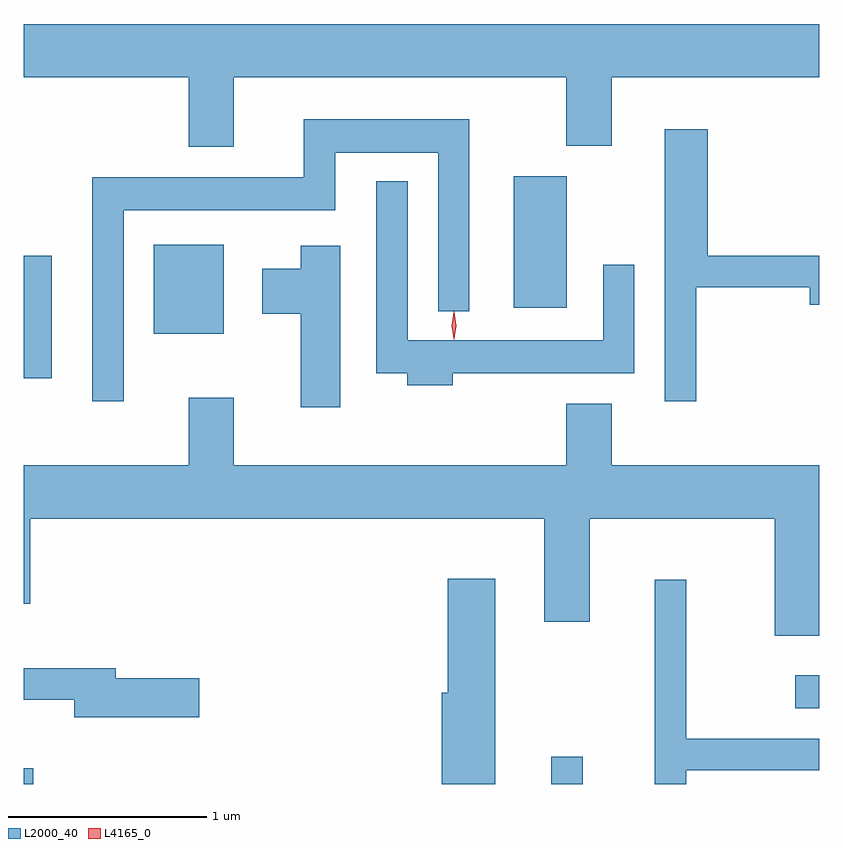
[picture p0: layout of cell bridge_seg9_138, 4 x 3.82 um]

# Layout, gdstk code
import gdstk
lib = gdstk.Library(unit=1e-6, precision=1e-09)
def R(c, l, rs):  # rectangles x0, y0, x1, y1
    for r in rs: c.add(gdstk.rectangle(r[:2], r[2:], *l))
def P(c, l, *ps):  # polygons
    for p in ps: c.add(gdstk.Polygon(p, *l))
L2000_40 = (2000, 40)
L4165_0 = (4165, 0)

bridge_seg9_138 = lib.new_cell('bridge_seg9_138')
R(bridge_seg9_138, L2000_40, [(1409.743,2070.401,1409.789,2070.479), (1412.396,2070.401,1412.554,2070.538), (1413.623,2070.781,1413.743,2070.949), (1409.743,2072.441,1409.884,2073.059), (1410.396,2072.666,1410.749,2073.114), (1412.206,2072.796,1412.474,2073.459)])
P(bridge_seg9_138, L2000_40, [(1410.799,2073.956),(1412.471,2073.956),(1412.471,2073.611),(1412.699,2073.611),(1412.699,2073.956),(1413.743,2073.956),(1413.743,2074.224),(1409.743,2074.224),(1409.743,2073.956),(1410.571,2073.956),(1410.571,2073.606),(1410.799,2073.606)],
  [(1410.244,2073.286),(1411.309,2073.286),(1411.309,2073.576),(1411.826,2073.576),(1411.826,2072.778),(1411.984,2072.778),(1411.984,2073.744),(1411.151,2073.744),(1411.151,2073.454),(1410.086,2073.454),(1410.086,2072.327),(1410.244,2072.327)],
  [(1413.124,2072.901),(1413.696,2072.901),(1413.696,2072.811),(1413.743,2072.811),(1413.743,2073.059),(1413.184,2073.059),(1413.184,2073.694),(1412.966,2073.694),(1412.966,2072.327),(1413.124,2072.327)],
  [(1411.899,2072.466),(1412.814,2072.466),(1412.814,2073.012),(1412.656,2073.012),(1412.656,2072.634),(1411.674,2072.634),(1411.674,2073.433),(1411.516,2073.433),(1411.516,2072.466),(1411.671,2072.466),(1411.671,2072.406),(1411.899,2072.406)],
  [(1411.334,2073.109),(1411.136,2073.109),(1411.136,2072.994),(1410.941,2072.994),(1410.941,2072.766),(1411.136,2072.766),(1411.136,2072.296),(1411.334,2072.296)],
  [(1413.743,2072.004),(1412.699,2072.004),(1412.699,2072.314),(1412.471,2072.314),(1412.471,2072.004),(1410.799,2072.004),(1410.799,2072.344),(1410.571,2072.344),(1410.571,2072.004),(1409.743,2072.004),(1409.743,2071.308),(1409.774,2071.308),(1409.774,2071.736),(1412.361,2071.736),(1412.361,2071.216),(1412.589,2071.216),(1412.589,2071.736),(1413.521,2071.736),(1413.521,2071.146),(1413.743,2071.146)],
  [(1412.114,2071.434),(1411.876,2071.434),(1411.876,2070.859),(1411.846,2070.859),(1411.846,2070.401),(1412.114,2070.401)],
  [(1413.074,2070.471),(1413.743,2070.471),(1413.743,2070.629),(1413.074,2070.629),(1413.074,2071.428),(1412.916,2071.428),(1412.916,2070.401),(1413.074,2070.401)],
  [(1410.624,2070.934),(1410.204,2070.934),(1410.204,2070.984),(1409.743,2070.984),(1409.743,2070.826),(1409.996,2070.826),(1409.996,2070.736),(1410.624,2070.736)])
P(bridge_seg9_138, L4165_0, [(1411.906,2072.637),(1411.897,2072.707),(1411.906,2072.776),(1411.907,2072.776),(1411.907,2072.776),(1411.917,2072.707),(1411.907,2072.637),(1411.907,2072.637)],
  [(1411.904,2072.64),(1411.895,2072.706),(1411.904,2072.772),(1411.905,2072.773),(1411.905,2072.772),(1411.915,2072.706),(1411.905,2072.64),(1411.905,2072.64)])

lib.write_gds('bridge_seg9_138.gds')
